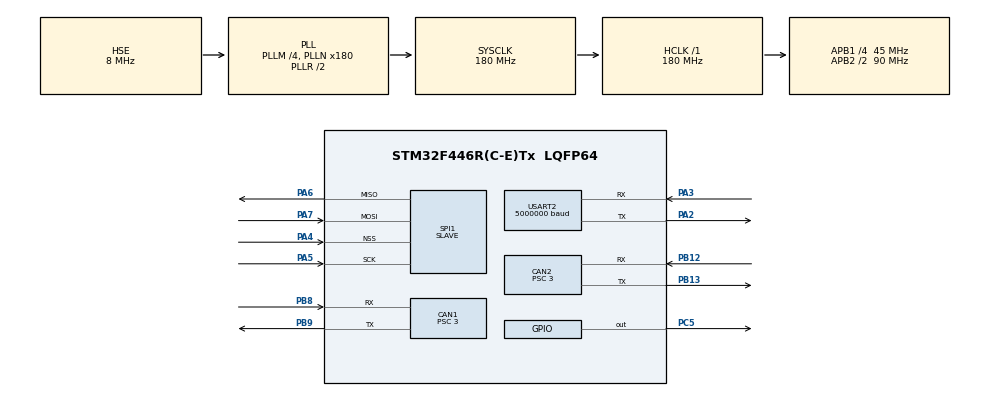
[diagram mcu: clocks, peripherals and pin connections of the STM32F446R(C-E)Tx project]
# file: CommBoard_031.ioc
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CAN1.ABOM=ENABLE
CAN1.BS1=CAN_BS1_12TQ
CAN1.BS2=CAN_BS2_2TQ
CAN1.CalculateBaudRate=1000000
CAN1.CalculateTimeBit=1000
CAN1.CalculateTimeQuantum=66.66666666666666
CAN1.NART=ENABLE
CAN1.Prescaler=3
CAN1.TXFP=DISABLE
CAN2.ABOM=ENABLE
CAN2.BS1=CAN_BS1_12TQ
CAN2.BS2=CAN_BS2_2TQ
CAN2.CalculateBaudRate=1000000
CAN2.CalculateTimeBit=1000
CAN2.CalculateTimeQuantum=66.66666666666666
CAN2.NART=ENABLE
CAN2.Prescaler=3
Dma.Request0=SPI1_RX
Dma.Request1=SPI1_TX
Dma.Request2=USART2_TX
Dma.SPI1_RX.0.Direction=DMA_PERIPH_TO_MEMORY
Dma.SPI1_RX.0.FIFOMode=DMA_FIFOMODE_DISABLE
Dma.SPI1_RX.0.Instance=DMA2_Stream0
Dma.SPI1_RX.0.MemDataAlignment=DMA_MDATAALIGN_BYTE
Dma.SPI1_RX.0.MemInc=DMA_MINC_ENABLE
Dma.SPI1_RX.0.Mode=DMA_NORMAL
Dma.SPI1_RX.0.PeriphDataAlignment=DMA_PDATAALIGN_BYTE
Dma.SPI1_RX.0.PeriphInc=DMA_PINC_DISABLE
Dma.SPI1_RX.0.Priority=DMA_PRIORITY_HIGH
Dma.SPI1_TX.1.Direction=DMA_MEMORY_TO_PERIPH
Dma.SPI1_TX.1.FIFOMode=DMA_FIFOMODE_DISABLE
Dma.SPI1_TX.1.Instance=DMA2_Stream3
Dma.SPI1_TX.1.MemDataAlignment=DMA_MDATAALIGN_BYTE
Dma.SPI1_TX.1.MemInc=DMA_MINC_ENABLE
Dma.SPI1_TX.1.Mode=DMA_NORMAL
Dma.SPI1_TX.1.PeriphDataAlignment=DMA_PDATAALIGN_BYTE
Dma.SPI1_TX.1.PeriphInc=DMA_PINC_DISABLE
Dma.SPI1_TX.1.Priority=DMA_PRIORITY_HIGH
Dma.USART2_TX.2.Direction=DMA_MEMORY_TO_PERIPH
Dma.USART2_TX.2.FIFOMode=DMA_FIFOMODE_DISABLE
Dma.USART2_TX.2.Instance=DMA1_Stream6
Dma.USART2_TX.2.MemDataAlignment=DMA_MDATAALIGN_BYTE
Dma.USART2_TX.2.MemInc=DMA_MINC_ENABLE
Dma.USART2_TX.2.Mode=DMA_NORMAL
Dma.USART2_TX.2.PeriphDataAlignment=DMA_PDATAALIGN_BYTE
Dma.USART2_TX.2.PeriphInc=DMA_PINC_DISABLE
Dma.USART2_TX.2.Priority=DMA_PRIORITY_VERY_HIGH
Mcu.Family=STM32F4
Mcu.Name=STM32F446R(C-E)Tx
Mcu.Package=LQFP64
NVIC.CAN1_RX0_IRQn=true\:1\:0\:true\:false\:true\:true\:true\:true
NVIC.CAN2_RX1_IRQn=true\:1\:0\:true\:false\:true\:true\:true\:true
NVIC.DMA1_Stream6_IRQn=true\:0\:0\:false\:false\:true\:false\:true\:true
NVIC.DMA2_Stream0_IRQn=true\:0\:0\:false\:false\:true\:false\:true\:true
NVIC.DMA2_Stream3_IRQn=true\:0\:0\:false\:false\:true\:false\:true\:true
NVIC.PriorityGroup=NVIC_PRIORITYGROUP_4
PA13.Mode=Serial_Wire
PA13.Signal=SYS_JTMS-SWDIO
PA14.Mode=Serial_Wire
PA14.Signal=SYS_JTCK-SWCLK
PA2.GPIO_PuPd=GPIO_PULLUP
PA2.Mode=Asynchronous
PA2.Signal=USART2_TX
PA3.GPIO_PuPd=GPIO_PULLUP
PA3.Mode=Asynchronous
PA3.Signal=USART2_RX
PA4.Mode=NSS_Signal_Hard_Input
PA4.Signal=SPI1_NSS
PA5.Mode=Full_Duplex_Slave
PA5.Signal=SPI1_SCK
PA6.Mode=Full_Duplex_Slave
PA6.Signal=SPI1_MISO
PA7.Mode=Full_Duplex_Slave
PA7.Signal=SPI1_MOSI
PB12.Mode=CAN_Activate
PB12.Signal=CAN2_RX
PB13.Mode=CAN_Activate
PB13.Signal=CAN2_TX
PB8.Mode=CAN_Activate
PB8.Signal=CAN1_RX
PB9.Mode=CAN_Activate
PB9.Signal=CAN1_TX
PC5.GPIO_ModeDefaultOutputPP=GPIO_MODE_OUTPUT_PP
PC5.GPIO_PuPd=GPIO_PULLDOWN
PC5.PinState=GPIO_PIN_RESET
PC5.Signal=GPIO_Output
PH0-OSC_IN.Mode=HSE-External-Oscillator
PH0-OSC_IN.Signal=RCC_OSC_IN
PH1-OSC_OUT.Mode=HSE-External-Oscillator
PH1-OSC_OUT.Signal=RCC_OSC_OUT
ProjectManager.HeapSize=0x200
ProjectManager.StackSize=0x400
ProjectManager.TargetToolchain=MDK-ARM V5.32
RCC.AHBFreq_Value=180000000
RCC.APB1CLKDivider=RCC_HCLK_DIV4
RCC.APB1Freq_Value=45000000
RCC.APB1TimFreq_Value=90000000
RCC.APB2CLKDivider=RCC_HCLK_DIV2
RCC.APB2Freq_Value=90000000
RCC.APB2TimFreq_Value=180000000
RCC.CortexFreq_Value=180000000
RCC.HCLKFreq_Value=180000000
RCC.HSE_VALUE=8000000
RCC.PLLM=4
RCC.PLLN=180
RCC.PLLSourceVirtual=RCC_PLLSOURCE_HSE
RCC.SYSCLKFreq_VALUE=180000000
RCC.SYSCLKSource=RCC_SYSCLKSOURCE_PLLRCLK
RCC.USBFreq_Value=180000000
RCC.VCOOutputFreq_Value=360000000
SPI1.Direction=SPI_DIRECTION_2LINES
SPI1.Mode=SPI_MODE_SLAVE
SPI1.VirtualNSS=VM_NSSHARD
SPI1.VirtualType=VM_SLAVE
TIM2.Prescaler=90-1
USART2.BaudRate=5000000
USART2.OverSampling=UART_OVERSAMPLING_8
USART2.VirtualMode=VM_ASYNC
VP_TIM2_VS_ClockSourceINT.Mode=Internal
board=custom

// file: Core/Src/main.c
/* USER CODE BEGIN Header */
/**
  ******************************************************************************
  * @file           : main.c
  * @brief          : Main program body
  ******************************************************************************
  * @attention
  *
  * Copyright (c) 2026 STMicroelectronics.
  * All rights reserved.
  *
  * This software is licensed under terms that can be found in the LICENSE file
  * in the root directory of this software component.
  * If no LICENSE file comes with this software, it is provided AS-IS.
  *
  ******************************************************************************
  */
/* USER CODE END Header */
#include "main.h"
#include "can.h"
#include "dma.h"
#include "spi.h"
#include "tim.h"
#include "usart.h"
#include "gpio.h"

/* USER CODE BEGIN Includes */
//#include "EventRecorder.h"
#include "stdio.h"
#include "string.h"
#include "bsp_tim2.h"
#include "bsp_spi.h"
#include "bsp_dcan.h"
#include "bsp_flash.h"
#include "app_HostComm.h"
#include "app_IapUpData.h"
#include "app_ProtocolAnalysis.h"
/* USER CODE END Includes */

void SystemClock_Config(void);

/* USER CODE BEGIN 0 */
uint32_t ledTime=1000*500;
/* USER CODE END 0 */

int main(void)
{

  /* USER CODE BEGIN 1 */
  SCB->VTOR = FLASH_RUNING_AREA_APP;
  /* USER CODE END 1 */

  /* MCU Configuration--------------------------------------------------------*/

  /* Reset of all peripherals, Initializes the Flash interface and the Systick. */
  HAL_Init();

  /* Configure the system clock */
  SystemClock_Config();

  /* Initialize all configured peripherals */
  MX_GPIO_Init();
  MX_DMA_Init();
  MX_CAN1_Init();
  MX_CAN2_Init();
  MX_SPI1_Init();
  MX_USART2_UART_Init();
  MX_TIM2_Init();
  /* USER CODE BEGIN 2 */
  bsp_canQueue_int();
  bsp_tim2Start(&TIM2_T1,ledTime);
  app_HostData_init();
  app_IapUpData_init();
  bsp_Spi1StartDmaExchange();
  /* USER CODE END 2 */

  /* Infinite loop */
  /* USER CODE BEGIN WHILE */
  while (1)
  {
	 app_ProtocolAnalysisTask_loop();
	 app_HostDataPacketDisassembly_loop();
	 app_UpDataPacketDisassembly_loop();
	 if(bsp_tim2GetSta(&TIM2_T1))
	 {
		bsp_tim2Start(&TIM2_T1,ledTime);
		HAL_GPIO_TogglePin(GPIOC,GPIO_PIN_5);
	 }
    /* USER CODE END WHILE */

  }
}

void SystemClock_Config(void)
{
  RCC_OscInitTypeDef RCC_OscInitStruct = {0};
  RCC_ClkInitTypeDef RCC_ClkInitStruct = {0};

  /** Configure the main internal regulator output voltage
  */
  __HAL_RCC_PWR_CLK_ENABLE();
  __HAL_PWR_VOLTAGESCALING_CONFIG(PWR_REGULATOR_VOLTAGE_SCALE1);

  /** Initializes the RCC Oscillators according to the specified parameters
  * in the RCC_OscInitTypeDef structure.
  */
  RCC_OscInitStruct.OscillatorType = RCC_OSCILLATORTYPE_HSE;
  RCC_OscInitStruct.HSEState = RCC_HSE_ON;
  RCC_OscInitStruct.PLL.PLLState = RCC_PLL_ON;
  RCC_OscInitStruct.PLL.PLLSource = RCC_PLLSOURCE_HSE;
  RCC_OscInitStruct.PLL.PLLM = 4;
  RCC_OscInitStruct.PLL.PLLN = 180;
  RCC_OscInitStruct.PLL.PLLP = RCC_PLLP_DIV2;
  RCC_OscInitStruct.PLL.PLLQ = 2;
  RCC_OscInitStruct.PLL.PLLR = 2;
  if (HAL_RCC_OscConfig(&RCC_OscInitStruct) != HAL_OK)
  {
    Error_Handler();
  }

  /** Activate the Over-Drive mode
  */
  if (HAL_PWREx_EnableOverDrive() != HAL_OK)
  {
    Error_Handler();
  }

  /** Initializes the CPU, AHB and APB buses clocks
  */
  RCC_ClkInitStruct.ClockType = RCC_CLOCKTYPE_HCLK|RCC_CLOCKTYPE_SYSCLK
                              |RCC_CLOCKTYPE_PCLK1|RCC_CLOCKTYPE_PCLK2;
  RCC_ClkInitStruct.SYSCLKSource = RCC_SYSCLKSOURCE_PLLRCLK;
  RCC_ClkInitStruct.AHBCLKDivider = RCC_SYSCLK_DIV1;
  RCC_ClkInitStruct.APB1CLKDivider = RCC_HCLK_DIV4;
  RCC_ClkInitStruct.APB2CLKDivider = RCC_HCLK_DIV2;

  if (HAL_RCC_ClockConfig(&RCC_ClkInitStruct, FLASH_LATENCY_5) != HAL_OK)
  {
    Error_Handler();
  }
}

void Error_Handler(void)
{
  __disable_irq();
  while (1)
  {
  }
}
